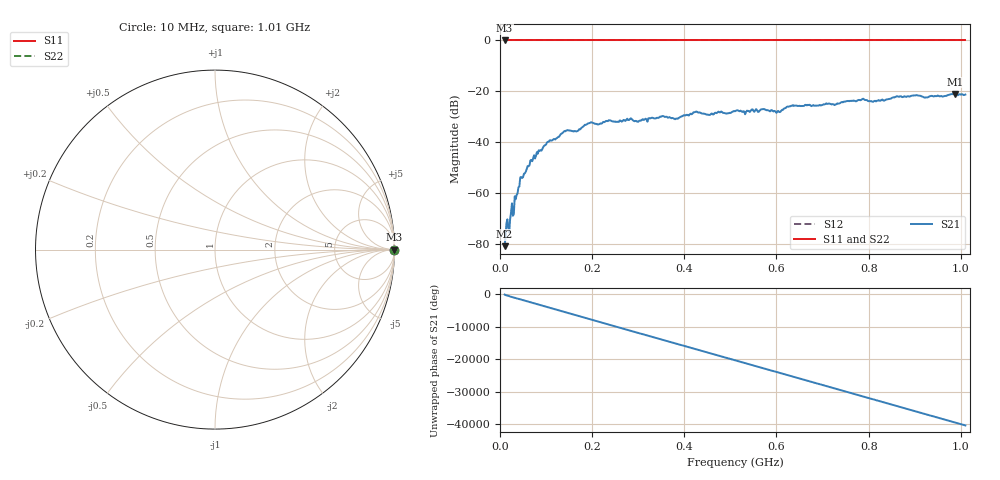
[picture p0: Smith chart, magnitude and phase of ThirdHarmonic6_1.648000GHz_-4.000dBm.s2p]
! 8/16/2025 7:43:22 PM
! C:\ANRITSUVNA\TEMP\TEMP.S2P
! CHANNEL.1
! TR.MEASUREMENT
! RAW.DATA
! RF.CORRECTION.OFF
! AVERAGING.OFF
! IF.BANDWIDTH: 5KHZ
! SWEEPTYPE:  FREQ.SWEEP(Linear)
! Reference Plane Port Info
! PORT:  PORT1  PORT2
! DISTANCE:  0  m  0  m
! TIME:  0  s  0  s
! PHASE.OFFSET:  0  deg.  0  deg.
! LOSS:  0  dB  0  dB
! REF.LOSS:  0  dB  0  dB
! REF.FREQ:  0  Hz  0  Hz
! Power Info
! POWER:  -20  dBm  -20  dBm
! EFF.POWER:  -20  dBm  -20  dBm
! SOURCE.ATTEN:  0  dB  0  dB
! TEST.ATTEN:  0  dB  0  dB
# GHZ S RI R 50.0
! FREQ.GHZ  S11RE  S11IM  S21RE  S21IM  S12RE  S12IM  S22RE  S22IM
!; PortSelection: Port_12
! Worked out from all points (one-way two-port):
!   501 points, 10 MHz to 1.01 GHz, reference 50 ohm
!   highest |S21| = -21.05 dB at 988 MHz (marker M1); lowest = -80.7 dB at 10 MHz (marker M2)
!   lowest |S11| = 0.0 dB at 10 MHz (marker M3)
!   |S11| at or under -10 dB: nowhere
!   |S22| runs from 0.0 to 0.0 dB; largest |S21 - S12| = 1.1
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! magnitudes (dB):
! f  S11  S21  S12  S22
! 10 MHz  0.0  -80.7  0.0  0.0
! 32 MHz  0.0  -61.2  0.0  0.0
! 36 MHz  0.0  -60.7  0.0  0.0
! 44 MHz  0.0  -53.7  0.0  0.0
! 70 MHz  0.0  -47.4  0.0  0.0
! 106 MHz  0.0  -39.7  0.0  0.0
! 142 MHz  0.0  -35.7  0.0  0.0
! 164 MHz  0.0  -35.6  0.0  0.0
! 178 MHz  0.0  -34.1  0.0  0.0
! 196 MHz  0.0  -32.3  0.0  0.0
! 344 MHz  0.0  -30.4  0.0  0.0
! 382 MHz  0.0  -30.6  0.0  0.0
! 424 MHz  0.0  -28.1  0.0  0.0
! 452 MHz  0.0  -29.2  0.0  0.0
! 510 MHz  0.0  -27.8  0.0  0.0
! 570 MHz  0.0  -26.9  0.0  0.0
! 604 MHz  0.0  -27.7  0.0  0.0
! 632 MHz  0.0  -25.6  0.0  0.0
! 678 MHz  0.0  -25.5  0.0  0.0
! 844 MHz  0.0  -22.9  0.0  0.0
! 988 MHz  0.0  -21.1  0.0  0.0
! 1.01 GHz  0.0  -21.2  0.0  0.0
